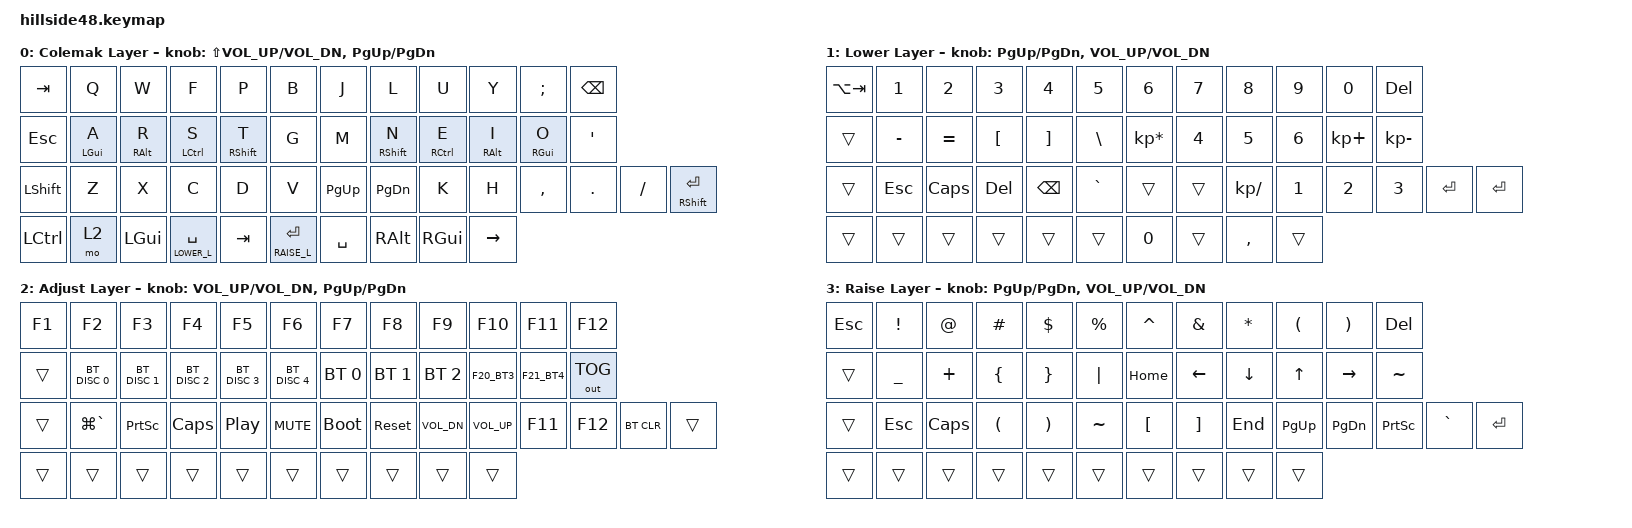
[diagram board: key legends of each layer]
/*
 * Copyright (c) 2022 The ZMK Contributors
 *
 * SPDX-License-Identifier: MIT
 */

#include <behaviors.dtsi>
#include <dt-bindings/zmk/bt.h>
#include <dt-bindings/zmk/keys.h>
#include <dt-bindings/zmk/outputs.h>

#define BASE_L  0
#define LOWER_L 1
#define ADJ_L   2
#define RAISE_L 3

/ {
    combos { compatible = "zmk,combos"; };

    behaviors {
        spc_lower: spc_lower {
            compatible = "zmk,behavior-hold-tap";
            label = "SPC_LOWER";
            #binding-cells = <2>;
            bindings = <&mo>, <&kp>;

            tapping-term-ms = <200>;
            flavor = "hold-preferred";
            hold-while-undecided;
        };

        hrm: hrm {
            compatible = "zmk,behavior-hold-tap";
            label = "HRM";
            #binding-cells = <2>;
            bindings = <&kp>, <&kp>;

            tapping-term-ms = <150>;
            flavor = "balanced";
            hold-while-undecided;
        };
    };

    macros {
        F20_BT3: F20_BT3 {
            compatible = "zmk,behavior-macro";
            #binding-cells = <0>;
            bindings = <&kp F20 &bt BT_SEL 3>;
            label = "F20_BT3";
        };

        F21_BT4: F21_BT4 {
            compatible = "zmk,behavior-macro";
            #binding-cells = <0>;
            bindings = <&kp F21 &bt BT_SEL 4>;
            label = "F21_BT4";
        };
    };

    keymap {
        compatible = "zmk,keymap";

        // Physical rows: 12 keys, 12 keys, 14 keys, 10 thumb keys.

        colemak_layer {
            display-name = "Colemak Layer";
            bindings = <
&kp TAB    &kp Q        &kp W        &kp F                     &kp P         &kp B                     &kp J      &kp L         &kp U         &kp Y        &kp SEMICOLON  &kp BSPC
&kp ESC    &hrm LGUI A  &hrm RALT R  &hrm LCTRL S              &hrm RSHFT T  &kp G                     &kp M      &hrm RSHFT N  &hrm RCTRL E  &hrm RALT I  &hrm RGUI O    &kp SQT
&kp LSHFT  &kp Z        &kp X        &kp C                     &kp D         &kp V                     &kp PG_UP  &kp PG_DN     &kp K         &kp H        &kp COMMA      &kp DOT   &kp FSLH  &mt RSHFT RET
&kp LCTRL  &mo 2        &kp LGUI     &spc_lower LOWER_L SPACE  &kp TAB       &spc_lower RAISE_L ENTER  &kp SPACE  &kp RALT      &kp RGUI      &kp RIGHT
            >;

            sensor-bindings =
                <&inc_dec_kp LS(C_VOL_UP) C_VOL_DN>,
                <&inc_dec_kp PG_UP PG_DN>;
        };

        lower_layer {
            display-name = "Lower Layer";
            bindings = <
&kp LA(TAB)  &kp N1     &kp N2     &kp N3      &kp N4         &kp N5     &kp N6           &kp N7  &kp N8         &kp N9  &kp N0       &kp DEL
&trans       &kp MINUS  &kp EQUAL  &kp LBKT    &kp RBKT       &kp BSLH   &kp KP_MULTIPLY  &kp N4  &kp N5         &kp N6  &kp KP_PLUS  &kp KP_MINUS
&trans       &kp ESC    &kp CAPS   &kp DELETE  &kp BACKSPACE  &kp GRAVE  &trans           &trans  &kp KP_DIVIDE  &kp N1  &kp N2       &kp N3        &kp RET  &kp RET
&trans       &trans     &trans     &trans      &trans         &trans     &kp N0           &trans  &kp COMMA      &trans
            >;

            sensor-bindings = <&inc_dec_kp PG_UP PG_DN &inc_dec_kp C_VOL_UP C_VOL_DN>;
        };

        adjust_layer {
            display-name = "Adjust Layer";
            bindings = <
&kp F1  &kp F2         &kp F3         &kp F4         &kp F5            &kp F6         &kp F7        &kp F8        &kp F9        &kp F10       &kp F11   &kp F12
&trans  &bt BT_DISC 0  &bt BT_DISC 1  &bt BT_DISC 2  &bt BT_DISC 3     &bt BT_DISC 4  &bt BT_SEL 0  &bt BT_SEL 1  &bt BT_SEL 2  &F20_BT3      &F21_BT4  &out OUT_TOG
&trans  &kp LG(GRAVE)  &kp PSCRN      &kp CAPS       &kp C_PLAY_PAUSE  &kp K_MUTE     &bootloader   &sys_reset    &kp C_VOL_DN  &kp C_VOL_UP  &kp F11   &kp F12       &bt BT_CLR  &trans
&trans  &trans         &trans         &trans         &trans            &trans         &trans        &trans        &trans        &trans
            >;

            sensor-bindings = <&inc_dec_kp C_VOL_UP C_VOL_DN &inc_dec_kp PG_UP PG_DN>;
        };

        raise_c_layer {
            display-name = "Raise Layer";
            bindings = <
&kp ESC  &kp EXCL   &kp AT    &kp HASH  &kp DLLR  &kp PRCNT  &kp CARET  &kp AMPS  &kp ASTRK  &kp LPAR   &kp RPAR   &kp DEL
&trans   &kp UNDER  &kp PLUS  &kp LBRC  &kp RBRC  &kp PIPE   &kp HOME   &kp LEFT  &kp DOWN   &kp UP     &kp RIGHT  &kp TILDE
&trans   &kp ESC    &kp CAPS  &kp LPAR  &kp RPAR  &kp TILDE  &kp LBKT   &kp RBKT  &kp END    &kp PG_UP  &kp PG_DN  &kp PSCRN  &kp GRAVE  &kp RET
&trans   &trans     &trans    &trans    &trans    &trans     &trans     &trans    &trans     &trans
            >;

            sensor-bindings = <&inc_dec_kp PG_UP PG_DN &inc_dec_kp C_VOL_UP C_VOL_DN>;
        };
    };
};
